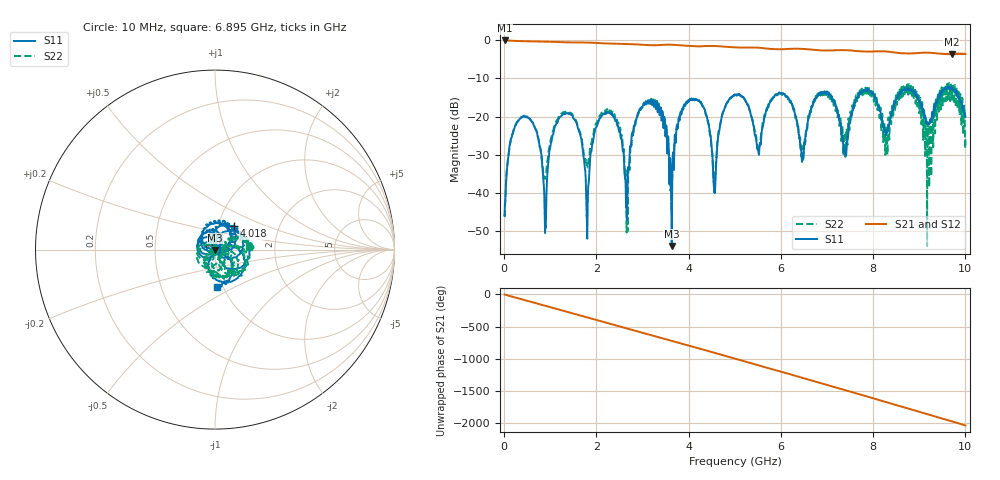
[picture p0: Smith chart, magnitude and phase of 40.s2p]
!Keysight Technologies,E5080B,MY59205177,A.15.75.32
!Date: Friday, February 23, 2024 03:29:19
!Correction: S11(Cdelta 2-Port  )
!S21(Cdelta 2-Port  )
!S12(Cdelta 2-Port  )
!S22(Cdelta 2-Port  )
!S2P File: Measurements: S11, S21, S12, S22:
# Hz S  dB  R 50
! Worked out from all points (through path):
!   10001 points, 10 MHz to 10 GHz, reference 50 ohm
!   highest |S21| = -0.02 dB at 10 MHz (marker M1); lowest = -3.7 dB at 9.701 GHz (marker M2)
!   group delay of S21, straight-line fit = 565 ps
!   lowest |S11| = -54.0 dB at 3.633 GHz (marker M3), VSWR 1.00, Z = 50.1 - j0.193 ohm
!   |S11| at or under -10 dB: start of sweep to end of sweep
!   |S22| runs from -54.0 to -11.2 dB; largest |S21 - S12| = 0.0015
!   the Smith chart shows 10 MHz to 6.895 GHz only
!   S11 on the Smith chart (normalised r, x): 10 MHz: 1.01, -0.00; 4.018 GHz: 1.18, +0.32; 6.895 GHz: 0.94, -0.41
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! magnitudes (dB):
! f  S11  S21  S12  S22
! 10 MHz  -46.0  0.0  0.0  -46.1
! 373.6 MHz  -20.2  -0.2  -0.2  -20.1
! 888.1 MHz  -49.8  -0.3  -0.3  -36.2
! 1.182 GHz  -20.7  -0.4  -0.4  -20.1
! 1.675 GHz  -26.0  -0.5  -0.5  -25.4
! 1.805 GHz  -49.3  -0.6  -0.6  -32.9
! 2.35 GHz  -19.4  -0.8  -0.8  -18.8
! 2.664 GHz  -47.1  -0.9  -0.9  -42.7
! 2.906 GHz  -19.3  -1.1  -1.1  -18.9
! 3.341 GHz  -17.5  -1.2  -1.2  -17.8
! 3.633 GHz  -54.0  -1.1  -1.1  -44.3
! 4.018 GHz  -15.5  -1.5  -1.5  -15.6
! 4.561 GHz  -39.8  -1.5  -1.5  -38.8
! 5.005 GHz  -14.2  -1.8  -1.8  -14.5
! 5.517 GHz  -29.8  -1.9  -1.9  -28.8
! 6.67 GHz  -17.3  -2.4  -2.4  -16.9
! 6.895 GHz  -13.6  -2.6  -2.6  -14.3
! 7.384 GHz  -29.8  -2.6  -2.6  -25.8
! 7.796 GHz  -13.1  -2.9  -2.9  -12.8
! 8.336 GHz  -22.7  -3.0  -3.0  -20.7
! 9.701 GHz  -12.3  -3.7  -3.7  -13.8
! 10 GHz  -20.1  -3.6  -3.6  -25.9
